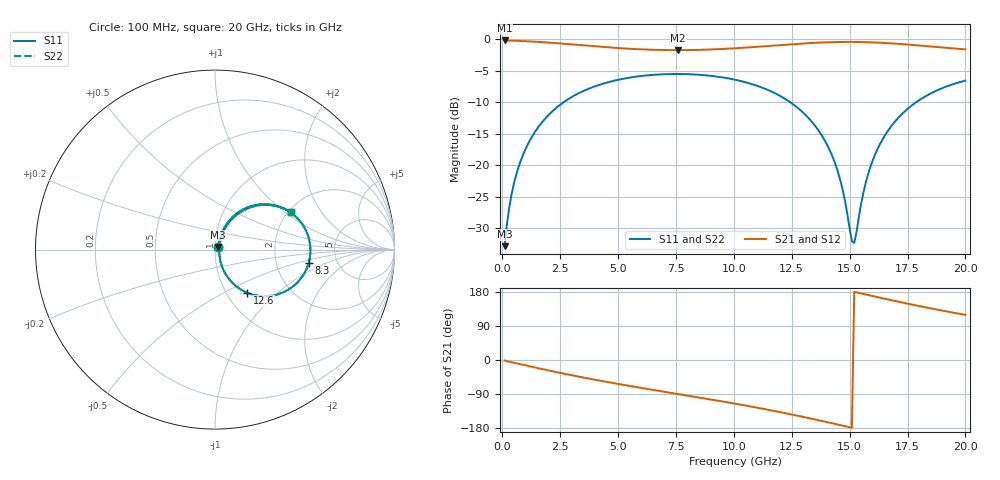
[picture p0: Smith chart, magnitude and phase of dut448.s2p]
! Touchstone file exported from HFSS 2026.1.0
!  File:  C:/ffzhzh/LocalFiles/Ansys_Project_Files/temp_train_TSV_RDL_448_1783099662_46604.aedt
!  Generated:  01:43:52 AM Jul  4, 2026
!  Design:  TSV_RDL
!  Project:  temp_train_TSV_RDL_448_1783099662_46604
! Variables:
!  h_bsmrdl = 4.2um
!  h_ox = 20um
!  h_rdl = 5um
!  h_sub = 82.84um
!  h_tmrdl = 3um
!  h_tsv = 82.84um
!  h_via = 3um
!  l_bsmrdl = 719.98um
!  l_sub = 3860.72um
!  l_tmrdl = 293.53um
!  m_sub = 200um
!  pitch = 50.42um
!  r_tsv = 12.24um
!  s_tmrdl = 10um
!  w_bsmrdl = 16.35um
!  w_sub = 500um
!  w_tmrdl = 25.87um
!  x_tsv_center1 = 306.465um
!  x_tsv_center2 = 1042.795um
!  x_tsv_center3 = 1362.195um
!  x_tsv_center4 = 2098.525um
!  x_tsv_center5 = 2417.925um
!  x_tsv_center6 = 3154.255um
# GHz S MA R 50.000000
! Terminal data exported
! Port[1] = TM_RDL1_1_T1
! Port[2] = TM_RDL5_1_T1
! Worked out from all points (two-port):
!   200 points, 100 MHz to 20 GHz, reference 50 ohm
!   highest |S21| = -0.15 dB at 100 MHz (marker M1); lowest = -1.7 dB at 7.6 GHz (marker M2)
!   |S21| within 3 dB of the highest: start of sweep to end of sweep
!   lowest |S11| = -32.9 dB at 100 MHz (marker M3), VSWR 1.05, Z = 51.8 + j1.45 ohm
!   |S11| at or under -10 dB: start of sweep to 2.641 GHz; 12.44 GHz to 17.87 GHz (5.422 GHz wide, 35.8 % of centre)
!   |S22| runs from -32.9 to -5.5 dB; largest |S21 - S12| = 2.5e-14
!   S11 on the Smith chart (normalised r, x): 100 MHz: 1.04, +0.03; 8.3 GHz: 3.08, -0.64; 12.6 GHz: 1.25, -0.66; 20 GHz: 2.06, +1.11
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0.1  0.02271 38.0  0.9824 -1.5  0.9824 -1.5  0.02271 38.0
! Gamma 0 0 0 0
! Port Impedance 50 0 50 0
0.3  0.0461 61.4  0.9802 -4.4  0.9802 -4.4  0.0461 61.4
0.5  0.07127 66.6  0.9775 -7.2  0.9775 -7.2  0.07127 66.6
1.1  0.1464 66.2  0.9675 -15.5  0.9675 -15.5  0.1464 66.2
2.1  0.2619 56.2  0.9425 -28.9  0.9425 -28.9  0.2619 56.2
3.5  0.3892 40.3  0.8976 -46.3  0.8976 -46.3  0.3892 40.3
6.8  0.5272 6.3  0.8257 -81.8  0.8257 -81.8  0.5272 6.3
7.6  0.5316 -1.5  0.8228 -89.8  0.8228 -89.8  0.5316 -1.5
8.3  0.5269 -8.3  0.8254 -96.9  0.8254 -96.9  0.5269 -8.3
10.1  0.4766 -26.2  0.8523 -115.6  0.8523 -115.6  0.4766 -26.2
12.6  0.3015 -53.1  0.9194 -145.0  0.9194 -145.0  0.3015 -53.2
13.4  0.2181 -61.6  0.9389 -155.5  0.9389 -155.5  0.218 -61.6
14.4  0.1001 -67.4  0.9541 -169.1  0.9541 -169.1  0.09998 -67.6
14.7  0.06377 -63.4  0.9561 -173.2  0.9561 -173.2  0.06365 -63.6
15.1  0.02489 -19.0  0.9565 -178.8  0.9565 -178.8  0.02456 -19.3
15.2  0.02412 10.1  0.9562 179.8  0.9562 179.8  0.02379 10.2
15.5  0.04956 55.6  0.9544 175.6  0.9544 175.6  0.04939 56.0
15.8  0.08516 63.9  0.9512 171.5  0.9512 171.5  0.08507 64.1
16.2  0.1339 64.5  0.9449 166.0  0.9449 166.0  0.1338 64.6
16.7  0.1931 61.0  0.9342 159.2  0.9342 159.2  0.1931 61.1
18.1  0.3378 46.5  0.8931 141.1  0.8931 141.1  0.3378 46.5
20  0.471 26.3  0.8347 119.1  0.8347 119.1  0.471 26.3
